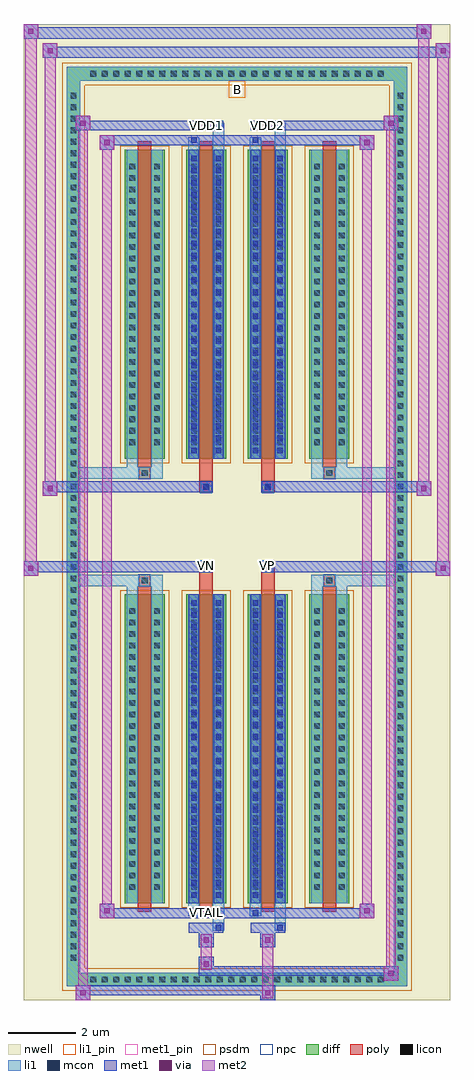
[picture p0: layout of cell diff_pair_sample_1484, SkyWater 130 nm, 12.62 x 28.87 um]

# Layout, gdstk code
import gdstk
lib = gdstk.Library(unit=1e-6, precision=5e-09)
def R(c, l, rs):  # rectangles x0, y0, x1, y1
    for r in rs: c.add(gdstk.rectangle(r[:2], r[2:], *l))
def A(c, l, x, y, w, h, nx, ny, dx, dy):  # array of equal rectangles
    R(c, l, [(x+i*dx, y+j*dy, x+i*dx+w, y+j*dy+h) for i in range(nx) for j in range(ny)])
def P(c, l, *ps):  # polygons
    for p in ps: c.add(gdstk.Polygon(p, *l))
nwell = (64, 20)
diff = (65, 20)
poly = (66, 20)
licon = (66, 44)
li1_pin = (67, 16)
li1 = (67, 20)
mcon = (67, 44)
met1_pin = (68, 16)
met1 = (68, 20)
via = (68, 44)
met2 = (69, 20)
psdm = (94, 20)
npc = (95, 20)

diff_pair_sample_1484 = lib.new_cell('diff_pair_sample_1484')
R(diff_pair_sample_1484, nwell, [(-6.31,-14,6.31,14.87), (-3.63,-12.19,-0.01,-0.815), (0.01,-12.19,3.63,-0.815), (-3.63,0.815,-0.01,12.19), (0.01,0.815,3.63,12.19)])
A(diff_pair_sample_1484, diff, -4.455, -13.6, 0.41, 0.41, 26, 2, 0.34, 26.79)
A(diff_pair_sample_1484, diff, -5.04, -12.955, 0.41, 0.41, 1, 76, 0, 0.34)
A(diff_pair_sample_1484, diff, 4.63, -12.955, 0.41, 0.41, 1, 76, 0, 0.34)
A(diff_pair_sample_1484, diff, -3.32, -11.145, 1.18, 9.14, 4, 2, 1.82, 13.15)
R(diff_pair_sample_1484, diff, [(-4.455,-13.6,4.455,-13.19), (-5.04,-12.955,-4.63,12.955), (4.63,-12.955,5.04,12.955), (-4.455,13.19,4.455,13.6)])
P(diff_pair_sample_1484, diff, [(5.04,13.6),(-5.04,13.6),(-5.04,-13.19),(-4.63,-13.19),(-4.63,13.19),(4.63,13.19),(4.63,-13.19),(-4.63,-13.19),(-5.04,-13.19),(-5.04,-13.6),(5.04,-13.6)])
A(diff_pair_sample_1484, poly, -2.93, -11.395, 0.4, 9.64, 4, 2, 1.82, 13.15)
R(diff_pair_sample_1484, poly, [(-2.895,-1.755,-2.565,-1.425), (-2.895,-1.755,-2.565,-1.425), (-1.11,-1.755,-0.71,-1.345), (0.71,-1.755,1.11,-1.345), (2.565,-1.755,2.895,-1.425), (2.565,-1.755,2.895,-1.425), (-1.11,-1.345,-0.71,-1.015), (-1.075,-1.345,-0.745,-1.015), (0.71,-1.345,1.11,-1.015), (0.745,-1.345,1.075,-1.015), (-1.11,1.015,-0.71,1.345), (-1.075,1.015,-0.745,1.345), (0.71,1.015,1.11,1.345), (0.745,1.015,1.075,1.345), (-1.11,1.345,-0.71,1.755), (0.71,1.345,1.11,1.755), (-2.895,1.425,-2.565,1.755), (-2.895,1.425,-2.565,1.755), (2.565,1.425,2.895,1.755), (2.565,1.425,2.895,1.755)])
A(diff_pair_sample_1484, licon, -4.335, -13.48, 0.17, 0.17, 26, 2, 0.34, 26.79)
A(diff_pair_sample_1484, licon, -4.92, -12.835, 0.17, 0.17, 1, 76, 0, 0.34)
A(diff_pair_sample_1484, licon, 4.75, -12.835, 0.17, 0.17, 1, 76, 0, 0.34)
A(diff_pair_sample_1484, licon, -3.18, -10.74, 0.17, 0.17, 1, 25, 0, 0.34)
A(diff_pair_sample_1484, licon, -2.45, -10.74, 0.17, 0.17, 1, 25, 0, 0.34)
A(diff_pair_sample_1484, licon, -1.36, -10.74, 0.17, 0.17, 1, 25, 0, 0.34)
A(diff_pair_sample_1484, licon, -0.63, -10.74, 0.17, 0.17, 1, 25, 0, 0.34)
A(diff_pair_sample_1484, licon, 0.46, -10.74, 0.17, 0.17, 1, 25, 0, 0.34)
A(diff_pair_sample_1484, licon, 1.19, -10.74, 0.17, 0.17, 1, 25, 0, 0.34)
A(diff_pair_sample_1484, licon, 2.28, -10.74, 0.17, 0.17, 1, 25, 0, 0.34)
A(diff_pair_sample_1484, licon, 3.01, -10.74, 0.17, 0.17, 1, 25, 0, 0.34)
A(diff_pair_sample_1484, licon, -3.18, 2.41, 0.17, 0.17, 1, 25, 0, 0.34)
A(diff_pair_sample_1484, licon, -2.45, 2.41, 0.17, 0.17, 1, 25, 0, 0.34)
A(diff_pair_sample_1484, licon, -1.36, 2.41, 0.17, 0.17, 1, 25, 0, 0.34)
A(diff_pair_sample_1484, licon, -0.63, 2.41, 0.17, 0.17, 1, 25, 0, 0.34)
A(diff_pair_sample_1484, licon, 0.46, 2.41, 0.17, 0.17, 1, 25, 0, 0.34)
A(diff_pair_sample_1484, licon, 1.19, 2.41, 0.17, 0.17, 1, 25, 0, 0.34)
A(diff_pair_sample_1484, licon, 2.28, 2.41, 0.17, 0.17, 1, 25, 0, 0.34)
A(diff_pair_sample_1484, licon, 3.01, 2.41, 0.17, 0.17, 1, 25, 0, 0.34)
R(diff_pair_sample_1484, licon, [(-2.815,-1.675,-2.645,-1.505), (2.645,-1.675,2.815,-1.505), (-0.995,-1.265,-0.825,-1.095), (0.825,-1.265,0.995,-1.095), (-0.995,1.095,-0.825,1.265), (0.825,1.095,0.995,1.265), (-2.815,1.505,-2.645,1.675), (2.645,1.505,2.815,1.675)])
R(diff_pair_sample_1484, li1_pin, [(-0.25,12.69,0.25,13.19)])
A(diff_pair_sample_1484, li1, -4.415, -13.56, 0.33, 0.33, 26, 2, 0.34, 26.79)
A(diff_pair_sample_1484, li1, -5, -12.915, 0.33, 0.33, 1, 76, 0, 0.34)
A(diff_pair_sample_1484, li1, 4.67, -12.915, 0.33, 0.33, 1, 76, 0, 0.34)
A(diff_pair_sample_1484, li1, -1.36, -10.98, 0.17, 0.17, 1, 25, 0, 0.36)
A(diff_pair_sample_1484, li1, -0.63, -10.98, 0.17, 0.17, 1, 25, 0, 0.36)
A(diff_pair_sample_1484, li1, 0.46, -10.98, 0.17, 0.17, 1, 25, 0, 0.36)
A(diff_pair_sample_1484, li1, 1.19, -10.98, 0.17, 0.17, 1, 25, 0, 0.36)
A(diff_pair_sample_1484, li1, -3.26, -10.82, 0.33, 0.33, 1, 25, 0, 0.34)
A(diff_pair_sample_1484, li1, -2.53, -10.82, 0.33, 0.33, 1, 25, 0, 0.34)
A(diff_pair_sample_1484, li1, -1.44, -10.82, 0.33, 0.33, 1, 25, 0, 0.34)
A(diff_pair_sample_1484, li1, -0.71, -10.82, 0.33, 0.33, 1, 25, 0, 0.34)
A(diff_pair_sample_1484, li1, 0.38, -10.82, 0.33, 0.33, 1, 25, 0, 0.34)
A(diff_pair_sample_1484, li1, 1.11, -10.82, 0.33, 0.33, 1, 25, 0, 0.34)
A(diff_pair_sample_1484, li1, 2.2, -10.82, 0.33, 0.33, 1, 25, 0, 0.34)
A(diff_pair_sample_1484, li1, 2.93, -10.82, 0.33, 0.33, 1, 25, 0, 0.34)
A(diff_pair_sample_1484, li1, -1.36, 2.17, 0.17, 0.17, 1, 25, 0, 0.36)
A(diff_pair_sample_1484, li1, -0.63, 2.17, 0.17, 0.17, 1, 25, 0, 0.36)
A(diff_pair_sample_1484, li1, 0.46, 2.17, 0.17, 0.17, 1, 25, 0, 0.36)
A(diff_pair_sample_1484, li1, 1.19, 2.17, 0.17, 0.17, 1, 25, 0, 0.36)
A(diff_pair_sample_1484, li1, -3.26, 2.33, 0.33, 0.33, 1, 25, 0, 0.34)
A(diff_pair_sample_1484, li1, -2.53, 2.33, 0.33, 0.33, 1, 25, 0, 0.34)
A(diff_pair_sample_1484, li1, -1.44, 2.33, 0.33, 0.33, 1, 25, 0, 0.34)
A(diff_pair_sample_1484, li1, -0.71, 2.33, 0.33, 0.33, 1, 25, 0, 0.34)
A(diff_pair_sample_1484, li1, 0.38, 2.33, 0.33, 0.33, 1, 25, 0, 0.34)
A(diff_pair_sample_1484, li1, 1.11, 2.33, 0.33, 0.33, 1, 25, 0, 0.34)
A(diff_pair_sample_1484, li1, 2.2, 2.33, 0.33, 0.33, 1, 25, 0, 0.34)
A(diff_pair_sample_1484, li1, 2.93, 2.33, 0.33, 0.33, 1, 25, 0, 0.34)
R(diff_pair_sample_1484, li1, [(-5.04,-13.6,-4.63,-13.19), (-5.04,-13.6,-4.63,-13.19), (-4.63,-13.6,4.63,-13.19), (4.63,-13.6,5.04,-13.19), (4.63,-13.6,5.04,-13.19), (-5.04,-13.19,-4.63,13.19), (4.63,-13.19,5.04,13.19), (-0.71,-11.95,-0.38,-11.145), (-0.63,-11.95,-0.46,-11.78), (1.11,-11.95,1.44,-11.145), (1.19,-11.95,1.36,-11.78), (-1.44,-11.52,-1.11,-11.145), (-1.36,-11.52,-1.19,-11.35), (0.38,-11.52,0.71,-11.145), (0.46,-11.52,0.63,-11.35), (-3.26,-11.145,-2.93,-2.005), (-2.53,-11.145,-2.2,-2.005), (-1.44,-11.145,-1.11,-2.005), (-0.71,-11.145,-0.38,-2.005), (0.38,-11.145,0.71,-2.005), (1.11,-11.145,1.44,-2.005), (2.2,-11.145,2.53,-2.005), (2.93,-11.145,3.26,-2.005), (-1.36,-10.98,-1.19,-2.17), (-0.63,-10.98,-0.46,-2.17), (0.46,-10.98,0.63,-2.17), (1.19,-10.98,1.36,-2.17), (-3.26,-2.005,-2.93,-1.425), (-2.53,-2.005,-2.2,-1.425), (2.2,-2.005,2.53,-1.425), (2.93,-2.005,3.26,-1.425), (-5.04,-1.755,-2.895,-1.425), (-3.26,-1.755,-2.895,-1.425), (-2.895,-1.755,-2.565,-1.425), (-2.565,-1.755,-2.2,-1.425), (2.2,-1.755,2.565,-1.425), (2.565,-1.755,2.895,-1.425), (2.565,-1.755,5.04,-1.425), (2.895,-1.755,3.26,-1.425), (-1.075,-1.345,-0.745,-1.015), (0.745,-1.345,1.075,-1.015), (-1.075,1.015,-0.745,1.345), (0.745,1.015,1.075,1.345), (-5.04,1.425,-2.895,1.755), (-3.26,1.425,-2.895,1.755), (-3.26,1.425,-2.93,2.005), (-2.895,1.425,-2.565,1.755), (-2.565,1.425,-2.2,1.755), (-2.53,1.425,-2.2,2.005), (2.2,1.425,2.565,1.755), (2.2,1.425,2.53,2.005), (2.565,1.425,2.895,1.755), (2.565,1.425,5.04,1.755), (2.895,1.425,3.26,1.755), (2.93,1.425,3.26,2.005), (-3.26,2.005,-2.93,11.145), (-2.53,2.005,-2.2,11.145), (-1.44,2.005,-1.11,11.145), (-0.71,2.005,-0.38,11.145), (0.38,2.005,0.71,11.145), (1.11,2.005,1.44,11.145), (2.2,2.005,2.53,11.145), (2.93,2.005,3.26,11.145), (-1.36,2.17,-1.19,10.98), (-0.63,2.17,-0.46,10.98), (0.46,2.17,0.63,10.98), (1.19,2.17,1.36,10.98), (-1.44,11.145,-1.11,11.52), (-0.71,11.145,-0.38,11.95), (0.38,11.145,0.71,11.52), (1.11,11.145,1.44,11.95), (-1.36,11.35,-1.19,11.52), (0.46,11.35,0.63,11.52), (-0.63,11.78,-0.46,11.95), (1.19,11.78,1.36,11.95), (-5.04,13.19,-4.63,13.6), (-5.04,13.19,-4.63,13.6), (-4.63,13.19,4.63,13.6), (4.63,13.19,5.04,13.6), (4.63,13.19,5.04,13.6)])
A(diff_pair_sample_1484, mcon, -1.36, -10.98, 0.17, 0.17, 1, 25, 0, 0.36)
A(diff_pair_sample_1484, mcon, -0.63, -10.98, 0.17, 0.17, 1, 25, 0, 0.36)
A(diff_pair_sample_1484, mcon, 0.46, -10.98, 0.17, 0.17, 1, 25, 0, 0.36)
A(diff_pair_sample_1484, mcon, 1.19, -10.98, 0.17, 0.17, 1, 25, 0, 0.36)
A(diff_pair_sample_1484, mcon, -1.36, 2.17, 0.17, 0.17, 1, 25, 0, 0.36)
A(diff_pair_sample_1484, mcon, -0.63, 2.17, 0.17, 0.17, 1, 25, 0, 0.36)
A(diff_pair_sample_1484, mcon, 0.46, 2.17, 0.17, 0.17, 1, 25, 0, 0.36)
A(diff_pair_sample_1484, mcon, 1.19, 2.17, 0.17, 0.17, 1, 25, 0, 0.36)
R(diff_pair_sample_1484, mcon, [(-0.63,-11.95,-0.46,-11.78), (1.19,-11.95,1.36,-11.78), (-1.36,-11.52,-1.19,-11.35), (0.46,-11.52,0.63,-11.35), (-0.995,-1.265,-0.825,-1.095), (0.825,-1.265,0.995,-1.095), (-0.995,1.095,-0.825,1.265), (0.825,1.095,0.995,1.265), (-1.36,11.35,-1.19,11.52), (0.46,11.35,0.63,11.52), (-0.63,11.78,-0.46,11.95), (1.19,11.78,1.36,11.95)])
R(diff_pair_sample_1484, met1_pin, [(-1.045,-11.56,-0.775,-11.29), (-1.045,-1.285,-0.775,-1.015), (0.775,-1.285,1.045,-1.015), (-1.045,11.74,-0.775,12.01), (0.775,11.74,1.045,12.01)])
A(diff_pair_sample_1484, met1, -1.42, -11.04, 0.29, 0.29, 1, 25, 0, 0.36)
A(diff_pair_sample_1484, met1, -0.69, -11.04, 0.29, 0.29, 1, 25, 0, 0.36)
A(diff_pair_sample_1484, met1, 0.4, -11.04, 0.29, 0.29, 1, 25, 0, 0.36)
A(diff_pair_sample_1484, met1, 1.13, -11.04, 0.29, 0.29, 1, 25, 0, 0.36)
A(diff_pair_sample_1484, met1, -1.42, 2.11, 0.29, 0.29, 1, 25, 0, 0.36)
A(diff_pair_sample_1484, met1, -0.69, 2.11, 0.29, 0.29, 1, 25, 0, 0.36)
A(diff_pair_sample_1484, met1, 0.4, 2.11, 0.29, 0.29, 1, 25, 0, 0.36)
A(diff_pair_sample_1484, met1, 1.13, 2.11, 0.29, 0.29, 1, 25, 0, 0.36)
R(diff_pair_sample_1484, met1, [(-4.77,-14,-4.34,-13.57), (0.695,-14,1.125,-13.57), (-4.77,-13.86,1.125,-13.57), (4.34,-13.43,4.77,-13), (-1.125,-13.29,4.77,-13), (-1.125,-13.15,-0.695,-12.72), (-1.125,-12.44,-0.695,-12.01), (0.695,-12.44,1.125,-12.01), (-1.42,-12.01,-0.4,-11.72), (-0.69,-12.01,-0.4,-11.72), (0.4,-12.01,1.42,-11.72), (1.13,-12.01,1.42,-11.72), (-4.06,-11.58,-3.63,-11.15), (-4.06,-11.58,-1.42,-11.29), (-1.42,-11.58,-1.13,-11.29), (-1.42,-11.58,-0.4,-11.29), (-0.4,-11.58,0.4,-11.29), (0.4,-11.58,0.69,-11.29), (0.4,-11.58,1.42,-11.29), (1.42,-11.58,4.06,-11.29), (3.63,-11.58,4.06,-11.15), (-1.42,-11.145,-1.13,-2.005), (-0.69,-11.145,-0.4,-2.005), (0.4,-11.145,0.69,-2.005), (1.13,-11.145,1.42,-2.005), (-6.31,-1.445,-5.88,-1.015), (5.88,-1.445,6.31,-1.015), (-6.31,-1.345,-0.71,-1.015), (-1.11,-1.345,-0.71,-1.015), (0.71,-1.345,1.11,-1.015), (0.71,-1.345,6.31,-1.015), (-1.055,-1.325,-0.765,-1.035), (0.765,-1.325,1.055,-1.035), (-5.74,0.915,-5.31,1.345), (5.31,0.915,5.74,1.345), (-5.74,1.015,-1.11,1.345), (-1.11,1.015,-0.71,1.345), (0.71,1.015,1.11,1.345), (1.11,1.015,5.74,1.345), (-1.055,1.035,-0.765,1.325), (0.765,1.035,1.055,1.325), (-1.42,2.005,-1.13,11.145), (-0.69,2.005,-0.4,11.145), (0.4,2.005,0.69,11.145), (1.13,2.005,1.42,11.145), (-4.06,11.15,-3.63,11.58), (3.63,11.15,4.06,11.58), (-4.06,11.29,-1.42,11.58), (-1.42,11.29,-1.13,11.58), (-1.42,11.29,-0.4,11.58), (-0.4,11.29,0.4,11.58), (0.4,11.29,0.69,11.58), (0.4,11.29,1.42,11.58), (1.42,11.29,4.06,11.58), (-4.77,11.72,-4.34,12.15), (-4.77,11.72,-1.42,12.01), (-1.42,11.72,-0.4,12.01), (-0.69,11.72,-0.4,12.01), (0.4,11.72,1.42,12.01), (1.13,11.72,1.42,12.01), (1.42,11.72,4.77,12.01), (4.34,11.72,4.77,12.15), (-5.74,13.87,-5.31,14.3), (-5.74,13.87,-3.63,14.2), (-3.63,13.87,3.63,14.2), (3.63,13.87,6.31,14.2), (5.88,13.87,6.31,14.3), (-6.31,14.44,-5.88,14.87), (-6.31,14.44,-3.63,14.77), (-3.63,14.44,3.63,14.77), (3.63,14.44,5.74,14.77), (5.31,14.44,5.74,14.87)])
R(diff_pair_sample_1484, via, [(-4.63,-13.86,-4.48,-13.71), (0.835,-13.86,0.985,-13.71), (4.48,-13.29,4.63,-13.14), (-0.985,-13.01,-0.835,-12.86), (-0.985,-12.3,-0.835,-12.15), (0.835,-12.3,0.985,-12.15), (-3.92,-11.44,-3.77,-11.29), (3.77,-11.44,3.92,-11.29), (-6.17,-1.305,-6.02,-1.155), (6.02,-1.305,6.17,-1.155), (-5.6,1.055,-5.45,1.205), (5.45,1.055,5.6,1.205), (-3.92,11.29,-3.77,11.44), (3.77,11.29,3.92,11.44), (-4.63,11.86,-4.48,12.01), (4.48,11.86,4.63,12.01), (-5.6,14.01,-5.45,14.16), (6.02,14.01,6.17,14.16), (-6.17,14.58,-6.02,14.73), (5.45,14.58,5.6,14.73)])
R(diff_pair_sample_1484, met2, [(-4.77,-14,-4.34,-13.57), (-4.7,-14,-4.41,12.15), (-4.41,-14,-4.34,-13.57), (-4.72,-13.95,-4.39,-13.62), (0.745,-13.95,1.075,-13.62), (0.745,-13.62,1.075,-12.39), (4.34,-13.43,4.77,-13), (4.41,-13.43,4.7,12.15), (4.7,-13.43,4.77,-13), (4.39,-13.38,4.72,-13.05), (-1.075,-13.1,-0.745,-12.77), (-1.075,-12.77,-0.745,-12.39), (-1.075,-12.39,-0.745,-12.06), (0.745,-12.39,1.075,-12.06), (-4.06,-11.58,-3.63,-11.15), (-3.99,-11.58,-3.7,11.58), (-3.7,-11.58,-3.63,-11.15), (3.63,-11.58,4.06,-11.15), (3.7,-11.58,3.99,11.58), (3.99,-11.58,4.06,-11.15), (-4.01,-11.53,-3.68,-11.2), (3.68,-11.53,4.01,-11.2), (-6.31,-1.445,-5.88,-1.015), (-6.26,-1.445,-5.93,14.87), (-5.93,-1.445,-5.88,-1.015), (5.88,-1.445,6.31,-1.015), (5.93,-1.445,6.26,14.3), (6.26,-1.445,6.31,-1.015), (-6.26,-1.395,-5.93,-1.065), (5.93,-1.395,6.26,-1.065), (-5.74,0.915,-5.31,1.345), (-5.69,0.915,-5.36,14.3), (-5.36,0.915,-5.31,1.345), (5.31,0.915,5.74,1.345), (5.36,0.915,5.69,14.87), (5.69,0.915,5.74,1.345), (-5.69,0.965,-5.36,1.295), (5.36,0.965,5.69,1.295), (-4.06,11.15,-3.63,11.58), (-3.7,11.15,-3.63,11.58), (3.63,11.15,4.06,11.58), (3.99,11.15,4.06,11.58), (-4.01,11.2,-3.68,11.53), (3.68,11.2,4.01,11.53), (-4.77,11.72,-4.34,12.15), (-4.41,11.72,-4.34,12.15), (4.34,11.72,4.77,12.15), (4.7,11.72,4.77,12.15), (-4.72,11.77,-4.39,12.1), (4.39,11.77,4.72,12.1), (-5.74,13.87,-5.31,14.3), (-5.36,13.87,-5.31,14.3), (5.88,13.87,6.31,14.3), (6.26,13.87,6.31,14.3), (-5.69,13.92,-5.36,14.25), (5.93,13.92,6.26,14.25), (-6.31,14.44,-5.88,14.87), (-5.93,14.44,-5.88,14.87), (5.31,14.44,5.74,14.87), (5.69,14.44,5.74,14.87), (-6.26,14.49,-5.93,14.82), (5.36,14.49,5.69,14.82)])
A(diff_pair_sample_1484, psdm, -3.45, -11.275, 1.44, 9.4, 4, 2, 1.82, 13.15)
P(diff_pair_sample_1484, psdm, [(5.17,13.73),(-5.17,13.73),(-5.17,-13.06),(-4.5,-13.06),(-4.5,13.06),(4.5,13.06),(4.5,-13.06),(-4.5,-13.06),(-5.17,-13.06),(-5.17,-13.73),(5.17,-13.73)])
R(diff_pair_sample_1484, npc, [(-2.915,-1.775,-2.545,-1.405), (2.545,-1.775,2.915,-1.405), (-1.095,-1.365,-0.725,-0.995), (0.725,-1.365,1.095,-0.995), (-1.095,0.995,-0.725,1.365), (0.725,0.995,1.095,1.365), (-2.915,1.405,-2.545,1.775), (2.545,1.405,2.915,1.775)])
diff_pair_sample_1484.add(gdstk.Label('VTAIL', (-0.91,-11.425), layer=68, texttype=5))
diff_pair_sample_1484.add(gdstk.Label('VN', (-0.91,-1.15), layer=68, texttype=5))
diff_pair_sample_1484.add(gdstk.Label('VP', (0.91,-1.15), layer=68, texttype=5))
diff_pair_sample_1484.add(gdstk.Label('B', (0,12.94), layer=67, texttype=5))
diff_pair_sample_1484.add(gdstk.Label('VDD2', (0.91,11.875), layer=68, texttype=5))
diff_pair_sample_1484.add(gdstk.Label('VDD1', (-0.91,11.875), layer=68, texttype=5))

lib.write_gds('diff_pair_sample_1484.gds')
